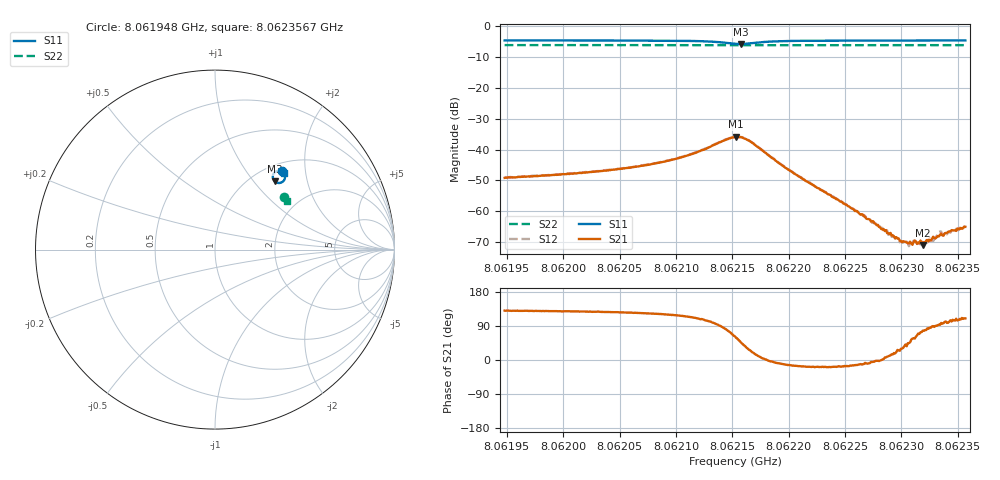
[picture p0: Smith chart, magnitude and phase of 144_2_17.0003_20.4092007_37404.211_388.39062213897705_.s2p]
#  HZ  S  RI  R  50.00
! Rohde & Schwarz Vector Network Analyzer
! Rohde-Schwarz,ZNB20-2Port,1311601062101988,3.16
! Created: UTC 3/20/2024, 10:58:28 PM
! freq[Hz]  re:S11  im:S11  re:S21  im:S21  re:S12  im:S12  re:S22  im:S22
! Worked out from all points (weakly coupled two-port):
!   401 points, 8.061948 GHz to 8.0623567 GHz, reference 50 ohm
!   highest |S21| = -35.88 dB at 8.0621534 GHz (marker M1); lowest = -70.8 dB at 8.0623189 GHz (marker M2)
!   lowest |S11| = -5.9 dB at 8.0621575 GHz (marker M3), VSWR 3.04, Z = 63 + j64.4 ohm
!   |S11| at or under -10 dB: nowhere
!   |S22| runs from -6.4 to -6.3 dB; largest |S21 - S12| = 0.0013
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8.06194802e9  0.3729 0.4386  -0.00225 0.00266  -0.00214 0.00285  0.3867 0.2914
8.06201648e9  0.3788 0.4327  -0.00258 0.00328  -0.00238 0.00351  0.3893 0.2881
8.06205735e9  0.3831 0.4274  -0.0029 0.00414  -0.0027 0.00433  0.3906 0.286
8.06208494e9  0.3867 0.4215  -0.0032 0.00521  -0.0029 0.00544  0.3915 0.2844
8.06211355e9  0.3902 0.4088  -0.00328 0.00771  -0.00283 0.008  0.3924 0.2824
8.06213705e9  0.3832 0.3844  -0.00075 0.0126  -1.6e-05 0.0128  0.3923 0.2805
8.06215238e9  0.3474 0.372  0.00745 0.014  0.00856 0.0137  0.3912 0.2798
8.0621534e9  0.344 0.3731  0.00837 0.0137  0.00928 0.0131  0.391 0.2799
8.06215748e9  0.3319 0.3807  0.0108 0.0116  0.0116 0.0109  0.3909 0.2801
8.06216668e9  0.3218 0.4083  0.0121 0.00522  0.0126 0.00447  0.391 0.2811
8.06219529e9  0.3504 0.4392  0.00526 -0.00105  0.00526 -0.00138  0.3937 0.2807
8.06222084e9  0.364 0.4389  0.00259 -0.000839  0.00256 -0.000993  0.395 0.2792
8.06225251e9  0.3724 0.436  0.00117 -0.000344  0.00119 -0.000444  0.3964 0.2776
8.0622893e9  0.3782 0.4329  0.00042 8.41e-05  0.00044 6.68e-05  0.3977 0.2756
8.06230054e9  0.3793 0.4319  0.000276 0.00016  0.00027 0.000164  0.398 0.275
8.06230462e9  0.3799 0.4317  0.000254 0.000186  0.00027 0.000183  0.3983 0.2747
8.0623128e9  0.3807 0.4312  0.000156 0.00029  0.000182 0.000267  0.3986 0.2743
8.06231893e9  0.3814 0.4308  6.17e-05 0.000281  0.00012 0.000289  0.3987 0.2739
8.06232813e9  0.3823 0.4302  3.85e-06 0.000392  -8.08e-06 0.000332  0.3991 0.2737
8.06233323e9  0.3828 0.4297  -2.39e-05 0.000395  -1.43e-05 0.000466  0.3991 0.2734
8.06233834e9  0.3833 0.4295  -8.26e-05 0.000437  -3.03e-05 0.000452  0.3994 0.2731
8.06235674e9  0.3849 0.4281  -0.000192 0.000532  -0.00013 0.000549  0.4 0.2721
